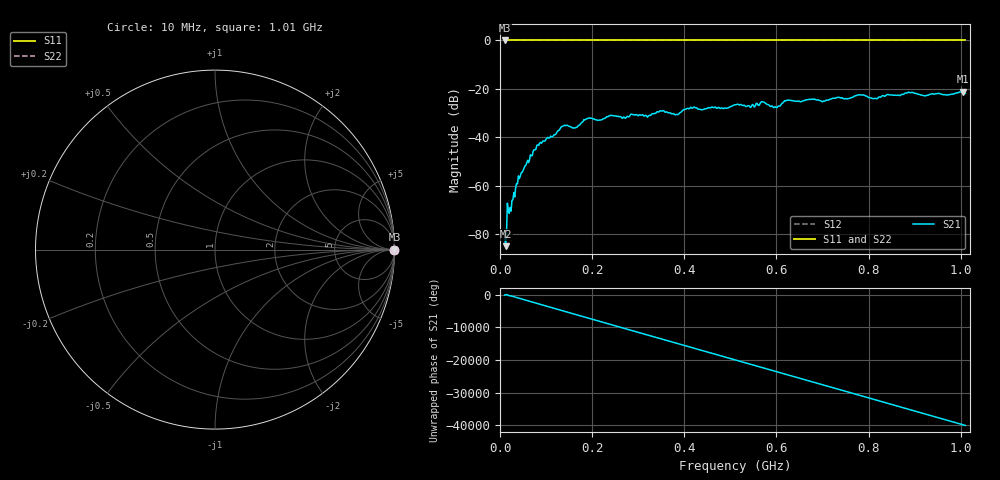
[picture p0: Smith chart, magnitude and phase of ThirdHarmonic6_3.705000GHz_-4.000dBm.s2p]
! 8/17/2025 12:36:01 PM
! C:\ANRITSUVNA\TEMP\TEMP.S2P
! CHANNEL.1
! TR.MEASUREMENT
! RAW.DATA
! RF.CORRECTION.OFF
! AVERAGING.OFF
! IF.BANDWIDTH: 5KHZ
! SWEEPTYPE:  FREQ.SWEEP(Linear)
! Reference Plane Port Info
! PORT:  PORT1  PORT2
! DISTANCE:  0  m  0  m
! TIME:  0  s  0  s
! PHASE.OFFSET:  0  deg.  0  deg.
! LOSS:  0  dB  0  dB
! REF.LOSS:  0  dB  0  dB
! REF.FREQ:  0  Hz  0  Hz
! Power Info
! POWER:  -20  dBm  -20  dBm
! EFF.POWER:  -20  dBm  -20  dBm
! SOURCE.ATTEN:  0  dB  0  dB
! TEST.ATTEN:  0  dB  0  dB
# GHZ S RI R 50.0
! FREQ.GHZ  S11RE  S11IM  S21RE  S21IM  S12RE  S12IM  S22RE  S22IM
!; PortSelection: Port_12
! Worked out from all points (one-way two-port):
!   501 points, 10 MHz to 1.01 GHz, reference 50 ohm
!   highest |S21| = -21.22 dB at 1.004 GHz (marker M1); lowest = -85.1 dB at 12 MHz (marker M2)
!   lowest |S11| = 0.0 dB at 10 MHz (marker M3)
!   |S11| at or under -10 dB: nowhere
!   |S22| runs from 0.0 to 0.0 dB; largest |S21 - S12| = 1.1
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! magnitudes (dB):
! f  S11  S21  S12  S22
! 10 MHz  0.0  -79.7  0.0  0.0
! 12 MHz  0.0  -85.1  0.0  0.0
! 20 MHz  0.0  -71.5  0.0  0.0
! 24 MHz  0.0  -70.6  0.0  0.0
! 38 MHz  0.0  -59.2  0.0  0.0
! 76 MHz  0.0  -45.3  0.0  0.0
! 136 MHz  0.0  -35.5  0.0  0.0
! 162 MHz  0.0  -36.2  0.0  0.0
! 178 MHz  0.0  -33.8  0.0  0.0
! 344 MHz  0.0  -29.6  0.0  0.0
! 384 MHz  0.0  -30.5  0.0  0.0
! 418 MHz  0.0  -28.0  0.0  0.0
! 510 MHz  0.0  -26.6  0.0  0.0
! 570 MHz  0.0  -25.4  0.0  0.0
! 598 MHz  0.0  -27.5  0.0  0.0
! 622 MHz  0.0  -24.7  0.0  0.0
! 678 MHz  0.0  -24.3  0.0  0.0
! 784 MHz  0.0  -22.6  0.0  0.0
! 814 MHz  0.0  -23.9  0.0  0.0
! 844 MHz  0.0  -22.5  0.0  0.0
! 1.004 GHz  0.0  -21.2  0.0  0.0
! 1.01 GHz  0.0  -21.9  0.0  0.0
